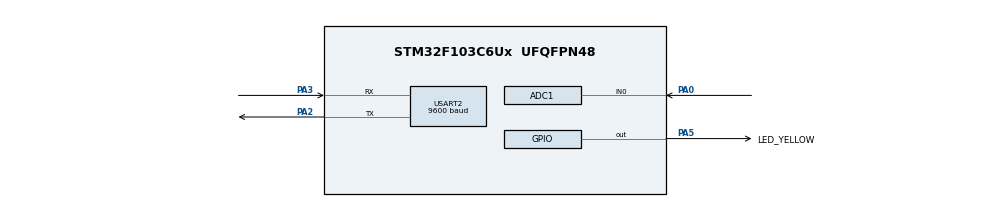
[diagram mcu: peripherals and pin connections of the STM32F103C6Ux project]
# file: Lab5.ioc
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ADC1.Channel-0\#ChannelRegularConversion=ADC_CHANNEL_0
ADC1.ContinuousConvMode=ENABLE
ADC1.NbrOfConversionFlag=1
ADC1.Rank-0\#ChannelRegularConversion=1
ADC1.SamplingTime-0\#ChannelRegularConversion=ADC_SAMPLETIME_1CYCLE_5
ADC1.master=1
Mcu.Family=STM32F1
Mcu.Name=STM32F103C6Ux
Mcu.Package=UFQFPN48
NVIC.PriorityGroup=NVIC_PRIORITYGROUP_4
NVIC.TIM2_IRQn=true\:0\:0\:false\:false\:true\:true\:true
NVIC.USART2_IRQn=true\:0\:0\:false\:false\:true\:true\:true
PA0-WKUP.Signal=ADCx_IN0
PA2.Mode=Asynchronous
PA2.Signal=USART2_TX
PA3.Mode=Asynchronous
PA3.Signal=USART2_RX
PA5.GPIO_Label=LED_YELLOW
PA5.Signal=GPIO_Output
ProjectManager.HeapSize=0x200
ProjectManager.StackSize=0x400
ProjectManager.TargetToolchain=STM32CubeIDE
RCC.APB1Freq_Value=8000000
RCC.APB2Freq_Value=8000000
SH.ADCx_IN0.0=ADC1_IN0,IN0
TIM2.Period=10
TIM2.Prescaler=7999
USART2.BaudRate=9600
USART2.VirtualMode=VM_ASYNC
VP_SYS_VS_ND.Mode=No_Debug
VP_TIM2_VS_ClockSourceINT.Mode=Internal
board=custom

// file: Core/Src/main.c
/* USER CODE BEGIN Header */
/**
  ******************************************************************************
  * @file           : main.c
  * @brief          : Main program body
  ******************************************************************************
  * @attention
  *
  * <h2><center>&copy; Copyright (c) 2023 STMicroelectronics.
  * All rights reserved.</center></h2>
  *
  * This software component is licensed by ST under BSD 3-Clause license,
  * the "License"; You may not use this file except in compliance with the
  * License. You may obtain a copy of the License at:
  *                        opensource.org/licenses/BSD-3-Clause
  *
  ******************************************************************************
  */
/* USER CODE END Header */
#include "main.h"

/* USER CODE BEGIN Includes */
#include <stdio.h>
#include "fsm.h"
/* USER CODE END Includes */

ADC_HandleTypeDef hadc1;

TIM_HandleTypeDef htim2;

UART_HandleTypeDef huart2;

void SystemClock_Config(void);
static void MX_GPIO_Init(void);
static void MX_ADC1_Init(void);
static void MX_TIM2_Init(void);
static void MX_USART2_UART_Init(void);

/* USER CODE BEGIN 0 */
void HAL_UART_RxCpltCallback(UART_HandleTypeDef *huart) {
  if (huart->Instance==USART2) {
	  HAL_UART_Transmit (&huart2 , &temp , 1 , 50) ;
	  buffer[index_buffer++]=temp;
	  if (index_buffer >= MAX_BUFFER_SIZE)
		  index_buffer=0;
	  buffer_flag=1;
	  HAL_UART_Receive_IT(&huart2, &temp, 1);
  }
}

void task1(){
	if(buffer_flag == 1){
		command_parser_fsm();
		buffer_flag = 0;
	}
}

void task2(){
	uart_communication_fsm();
}
/* USER CODE END 0 */

int main(void)
{

  /* MCU Configuration--------------------------------------------------------*/

  /* Reset of all peripherals, Initializes the Flash interface and the Systick. */
  HAL_Init();

  /* Configure the system clock */
  SystemClock_Config();

  /* Initialize all configured peripherals */
  MX_GPIO_Init();
  MX_ADC1_Init();
  MX_TIM2_Init();
  MX_USART2_UART_Init();
  /* USER CODE BEGIN 2 */
  HAL_TIM_Base_Start_IT(&htim2);
  setTimer1(100);
  HAL_UART_Receive_IT(&huart2, &temp, 1);
  /* USER CODE END 2 */

  /* Infinite loop */
  /* USER CODE BEGIN WHILE */
  SCH_Add_Task(timerRun, 0, 1);
  SCH_Add_Task(task1, 1, 1);
  SCH_Add_Task(task2, 0, 1);
  setTimer1(1);
  while (1)
  {
    /* USER CODE END WHILE */

    /* USER CODE BEGIN 3 */
	  SCH_Dispatch_Tasks();
  }
  /* USER CODE END 3 */
}

void SystemClock_Config(void)
{
  RCC_OscInitTypeDef RCC_OscInitStruct = {0};
  RCC_ClkInitTypeDef RCC_ClkInitStruct = {0};
  RCC_PeriphCLKInitTypeDef PeriphClkInit = {0};

  /** Initializes the RCC Oscillators according to the specified parameters
  * in the RCC_OscInitTypeDef structure.
  */
  RCC_OscInitStruct.OscillatorType = RCC_OSCILLATORTYPE_HSI;
  RCC_OscInitStruct.HSIState = RCC_HSI_ON;
  RCC_OscInitStruct.HSICalibrationValue = RCC_HSICALIBRATION_DEFAULT;
  RCC_OscInitStruct.PLL.PLLState = RCC_PLL_NONE;
  if (HAL_RCC_OscConfig(&RCC_OscInitStruct) != HAL_OK)
  {
    Error_Handler();
  }
  /** Initializes the CPU, AHB and APB buses clocks
  */
  RCC_ClkInitStruct.ClockType = RCC_CLOCKTYPE_HCLK|RCC_CLOCKTYPE_SYSCLK
                              |RCC_CLOCKTYPE_PCLK1|RCC_CLOCKTYPE_PCLK2;
  RCC_ClkInitStruct.SYSCLKSource = RCC_SYSCLKSOURCE_HSI;
  RCC_ClkInitStruct.AHBCLKDivider = RCC_SYSCLK_DIV1;
  RCC_ClkInitStruct.APB1CLKDivider = RCC_HCLK_DIV1;
  RCC_ClkInitStruct.APB2CLKDivider = RCC_HCLK_DIV1;

  if (HAL_RCC_ClockConfig(&RCC_ClkInitStruct, FLASH_LATENCY_0) != HAL_OK)
  {
    Error_Handler();
  }
  PeriphClkInit.PeriphClockSelection = RCC_PERIPHCLK_ADC;
  PeriphClkInit.AdcClockSelection = RCC_ADCPCLK2_DIV2;
  if (HAL_RCCEx_PeriphCLKConfig(&PeriphClkInit) != HAL_OK)
  {
    Error_Handler();
  }
}

static void MX_ADC1_Init(void)
{

  ADC_ChannelConfTypeDef sConfig = {0};

  /** Common config
  */
  hadc1.Instance = ADC1;
  hadc1.Init.ScanConvMode = ADC_SCAN_DISABLE;
  hadc1.Init.ContinuousConvMode = ENABLE;
  hadc1.Init.DiscontinuousConvMode = DISABLE;
  hadc1.Init.ExternalTrigConv = ADC_SOFTWARE_START;
  hadc1.Init.DataAlign = ADC_DATAALIGN_RIGHT;
  hadc1.Init.NbrOfConversion = 1;
  if (HAL_ADC_Init(&hadc1) != HAL_OK)
  {
    Error_Handler();
  }
  /** Configure Regular Channel
  */
  sConfig.Channel = ADC_CHANNEL_0;
  sConfig.Rank = ADC_REGULAR_RANK_1;
  sConfig.SamplingTime = ADC_SAMPLETIME_1CYCLE_5;
  if (HAL_ADC_ConfigChannel(&hadc1, &sConfig) != HAL_OK)
  {
    Error_Handler();
  }

}

static void MX_TIM2_Init(void)
{

  TIM_ClockConfigTypeDef sClockSourceConfig = {0};
  TIM_MasterConfigTypeDef sMasterConfig = {0};

  htim2.Instance = TIM2;
  htim2.Init.Prescaler = 7999;
  htim2.Init.CounterMode = TIM_COUNTERMODE_UP;
  htim2.Init.Period = 10;
  htim2.Init.ClockDivision = TIM_CLOCKDIVISION_DIV1;
  htim2.Init.AutoReloadPreload = TIM_AUTORELOAD_PRELOAD_DISABLE;
  if (HAL_TIM_Base_Init(&htim2) != HAL_OK)
  {
    Error_Handler();
  }
  sClockSourceConfig.ClockSource = TIM_CLOCKSOURCE_INTERNAL;
  if (HAL_TIM_ConfigClockSource(&htim2, &sClockSourceConfig) != HAL_OK)
  {
    Error_Handler();
  }
  sMasterConfig.MasterOutputTrigger = TIM_TRGO_RESET;
  sMasterConfig.MasterSlaveMode = TIM_MASTERSLAVEMODE_DISABLE;
  if (HAL_TIMEx_MasterConfigSynchronization(&htim2, &sMasterConfig) != HAL_OK)
  {
    Error_Handler();
  }

}

static void MX_USART2_UART_Init(void)
{

  huart2.Instance = USART2;
  huart2.Init.BaudRate = 9600;
  huart2.Init.WordLength = UART_WORDLENGTH_8B;
  huart2.Init.StopBits = UART_STOPBITS_1;
  huart2.Init.Parity = UART_PARITY_NONE;
  huart2.Init.Mode = UART_MODE_TX_RX;
  huart2.Init.HwFlowCtl = UART_HWCONTROL_NONE;
  huart2.Init.OverSampling = UART_OVERSAMPLING_16;
  if (HAL_UART_Init(&huart2) != HAL_OK)
  {
    Error_Handler();
  }

}

static void MX_GPIO_Init(void)
{
  GPIO_InitTypeDef GPIO_InitStruct = {0};

  /* GPIO Ports Clock Enable */
  __HAL_RCC_GPIOA_CLK_ENABLE();

  /*Configure GPIO pin Output Level */
  HAL_GPIO_WritePin(LED_YELLOW_GPIO_Port, LED_YELLOW_Pin, GPIO_PIN_RESET);

  /*Configure GPIO pin : LED_YELLOW_Pin */
  GPIO_InitStruct.Pin = LED_YELLOW_Pin;
  GPIO_InitStruct.Mode = GPIO_MODE_OUTPUT_PP;
  GPIO_InitStruct.Pull = GPIO_NOPULL;
  GPIO_InitStruct.Speed = GPIO_SPEED_FREQ_LOW;
  HAL_GPIO_Init(LED_YELLOW_GPIO_Port, &GPIO_InitStruct);

}

/* USER CODE BEGIN 4 */
void HAL_TIM_PeriodElapsedCallback(TIM_HandleTypeDef *htim) {

	SCH_Update();
}
/* USER CODE END 4 */

void Error_Handler(void)
{
  __disable_irq();
  while (1)
  {
  }
}

/************************ (C) COPYRIGHT STMicroelectronics *****END OF FILE****/
